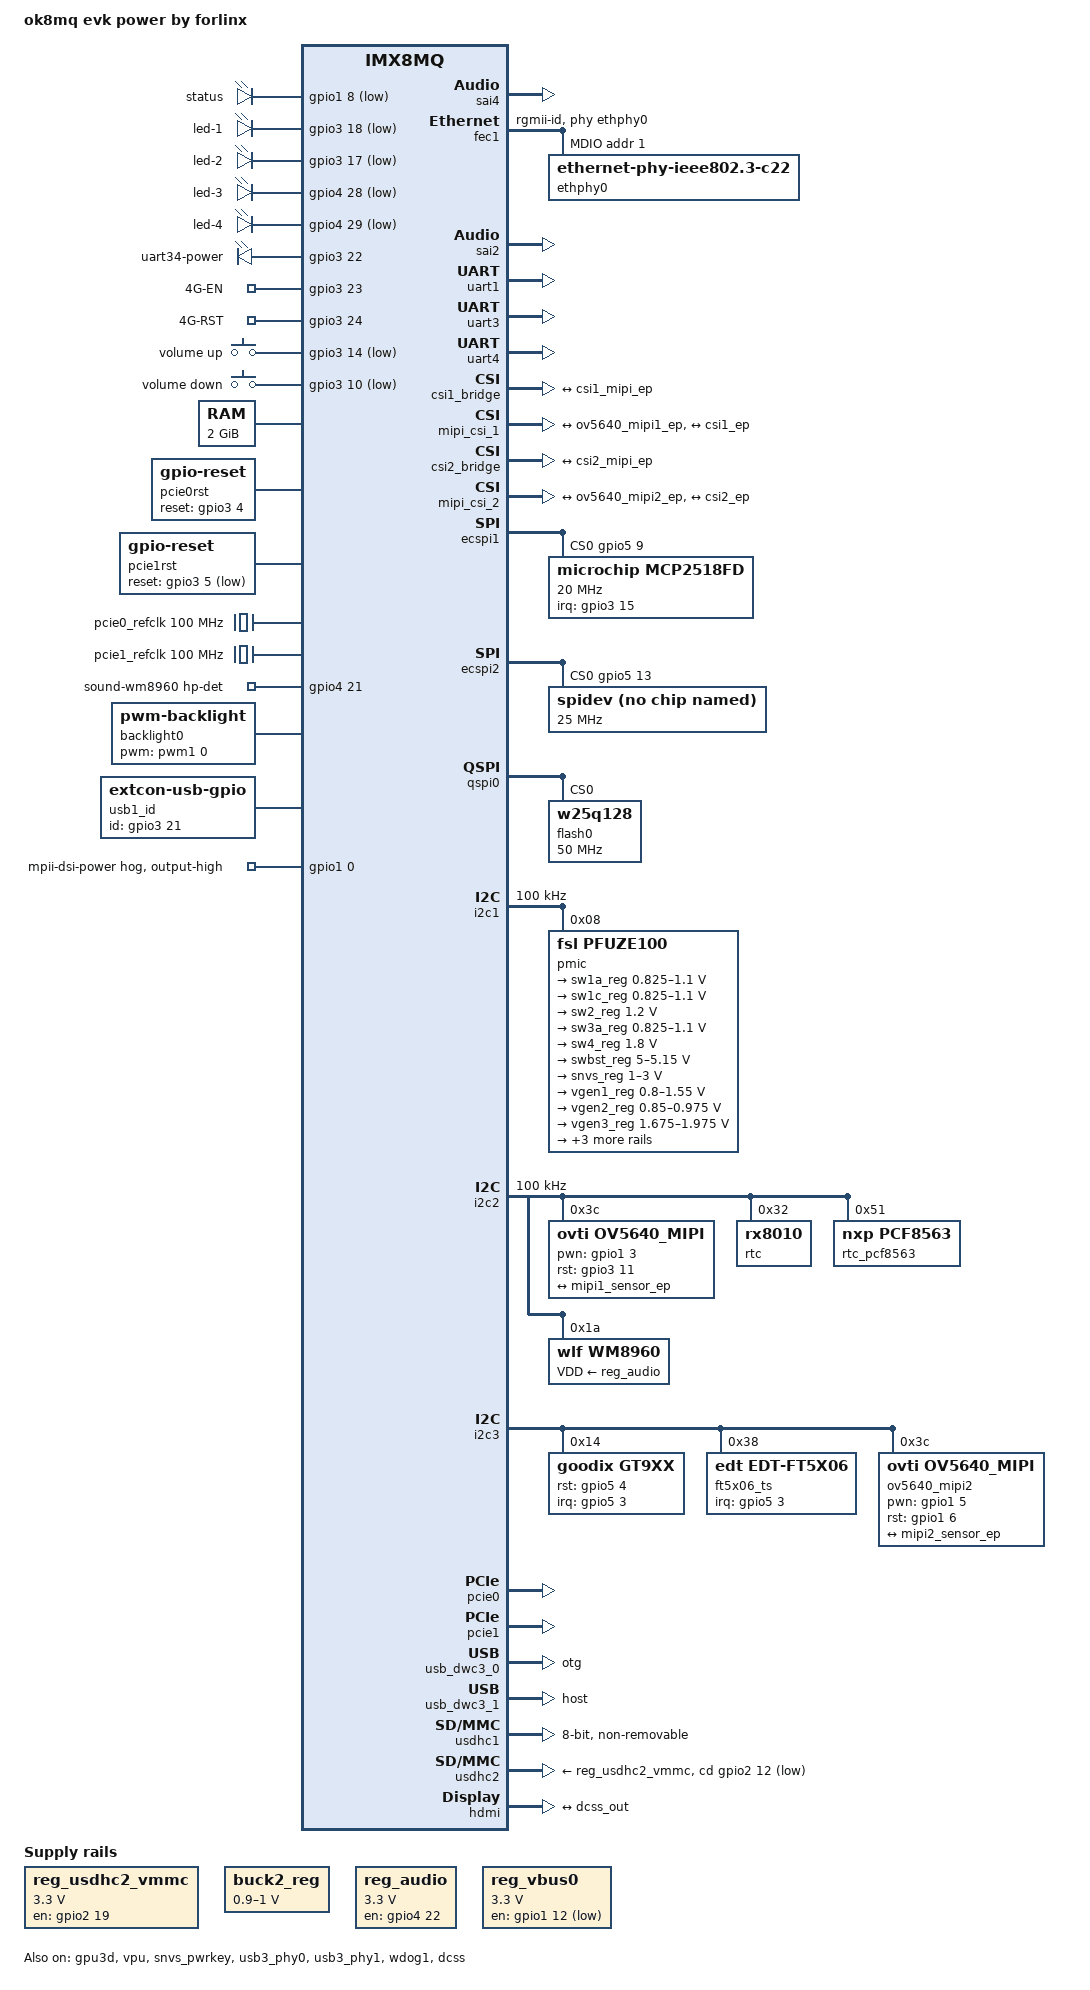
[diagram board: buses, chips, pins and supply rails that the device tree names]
// SPDX-License-Identifier: (GPL-2.0 OR MIT)
/*
 * Copyright 2017 NXP
 * Copyright (C) 2017-2018 Pengutronix, Lucas Stach <kernel@pengutronix.de>
 */

/dts-v1/;

#include <dt-bindings/usb/pd.h>
#include <dt-bindings/gpio/gpio.h>
#include <dt-bindings/leds/common.h>
#include <dt-bindings/pwm/pwm.h>
#include "imx8mq.dtsi"

/ {
	model = "ok8mq evk power by forlinx";
	compatible = "fsl,imx8mq-evk", "fsl,imx8mq";
	
	busfreq {
		status = "disabled";
	};

	clocks {
		mcp2518fd_clock: mcp2518fd_clock{
			compatible = "fixed-clock";
			#clock-cells = <0>;
			clock-frequency = <40000000>;
		};
	};

	leds {
		compatible = "gpio-leds";
		pinctrl-names = "default";
		pinctrl-0 = <&pinctrl_gpio_led>;

		status {
			gpios = <&gpio1 8 GPIO_ACTIVE_LOW>;
			linux,default-trigger = "heartbeat";
		};


		led-1 {
			gpios = <&gpio3 18 GPIO_ACTIVE_LOW>;
		};

		led-2 {
			gpios = <&gpio3 17 GPIO_ACTIVE_LOW>;
		};

		led-3 {
			gpios = <&gpio4 28 GPIO_ACTIVE_LOW>;
		};

		led-4 {
			gpios = <&gpio4 29 GPIO_ACTIVE_LOW>;
		};

		uart34-power {
			gpios = <&gpio3 22 GPIO_ACTIVE_HIGH>;
			default-state = "on";
		};

		4G-EN {
			gpios = <&gpio3 23 GPIO_ACTIVE_HIGH>;
			default-state = "on";
		};

		4G-RST {
			gpios = <&gpio3 24 GPIO_ACTIVE_HIGH>;
		};

	};

	gpio-keys {
		compatible = "gpio-keys";
		autorepeat;
		pinctrl-names = "default";
		pinctrl-0 = <&pinctrl_gpio_keys>;

		volume-up {
			label = "volume up";
			linux,code = <115>;
			gpios = <&gpio3 14 GPIO_ACTIVE_LOW>;
		};

		volume-down {
			label = "volume down";
			linux,code = <114>;
			gpios = <&gpio3 10 GPIO_ACTIVE_LOW>;
		};

	};
	
	gpio-inputs {
		compatible = "gpio-input";
		pinctrl-names = "default";
		pinctrl-0 = <&pinctrl_gpio_inputs>;
		status = "okay";
               
		di0 {
			label = "di0";
			gpios = <&gpio3 2 GPIO_ACTIVE_LOW>;
			debounce_interval = <20>;
		};
 		      
		di1 {
			label = "di1";
			gpios = <&gpio3 16 GPIO_ACTIVE_LOW>;
			debounce_interval = <20>;
		};
       
	};

	chosen {
		stdout-path = &uart1;
	};

	memory@40000000 {
		device_type = "memory";
		reg = <0x00000000 0x40000000 0 0x80000000>;
	};

	reserved-memory {
		#address-cells = <2>;
		#size-cells = <2>;
		ranges;

		rpmsg_reserved: rpmsg@0xb8000000 {
			no-map;
			reg = <0 0xb8000000 0 0x400000>;
		};
	};

	pcie0rst: pcie0-reset {
		compatible = "gpio-reset";
		reset-gpios = <&gpio3 4 GPIO_ACTIVE_HIGH>;
		reset-delay-us = <2000>;
		reset-post-delay-ms = <2>;
		#reset-cells = <0>;
	};

	pcie1rst: pcie1-reset {
		compatible = "gpio-reset";
		reset-gpios = <&gpio3 5 GPIO_ACTIVE_LOW>;
		reset-delay-us = <2000>;
		reset-post-delay-ms = <2>;
		#reset-cells = <0>;
	};

	resmem: reserved-memory {
		#address-cells = <2>;
		#size-cells = <2>;
		ranges;

		/* global autoconfigured region for contiguous allocations */
		linux,cma {
			compatible = "shared-dma-pool";
			reusable;
			size = <0 0x28000000>;
			alloc-ranges = <0 0x40000000 0 0x40000000>;
			linux,cma-default;
		};
	};

	pcie0_refclk: pcie0-refclk {
		compatible = "fixed-clock";
		#clock-cells = <0>;
		clock-frequency = <100000000>;
	};

	pcie1_refclk: pcie0-refclk {
		compatible = "fixed-clock";
		#clock-cells = <0>;
		clock-frequency = <100000000>;
	};

	reg_usdhc2_vmmc: regulator-vsd-3v3 {
		pinctrl-names = "default";
		pinctrl-0 = <&pinctrl_reg_usdhc2>;
		compatible = "regulator-fixed";
		regulator-name = "VSD_3V3";
		regulator-min-microvolt = <3300000>;
		regulator-max-microvolt = <3300000>;
		gpio = <&gpio2 19 GPIO_ACTIVE_HIGH>;
		off-on-delay-us = <20000>;
		enable-active-high;
	};

	buck2_reg: regulator-buck2 {
		pinctrl-names = "default";
		pinctrl-0 = <&pinctrl_buck2>;
		compatible = "regulator-gpio";
		regulator-name = "vdd_arm";
		regulator-min-microvolt = <900000>;
		regulator-max-microvolt = <1000000>;
		gpios = <&gpio1 13 GPIO_ACTIVE_HIGH>;
		states = <1000000 0x0
				900000 0x1>;
	};

	reg_audio: regulator-audio {
		compatible = "regulator-fixed";
		regulator-name = "AUD_3V3";
		regulator-min-microvolt = <3300000>;
		regulator-max-microvolt = <3300000>;
		gpio = <&gpio4 22 GPIO_ACTIVE_HIGH>;
		off-on-delay-us = <20000>;
		enable-active-high;
	};

	reg_vbus0: regulator-vbus0 {
		pinctrl-names = "default";
		pinctrl-0 = <&pinctrl_usb_vbus0>;
		compatible = "regulator-fixed";
		regulator-name = "VBUS_3V3";
		regulator-min-microvolt = <3300000>;
		regulator-max-microvolt = <3300000>;
		gpio = <&gpio1 12 GPIO_ACTIVE_HIGH>;
	};

	sound-hdmi {
		compatible = "fsl,imx8mq-evk-cdnhdmi",
				"fsl,imx-audio-cdnhdmi";
		model = "imx-audio-hdmi";
		audio-cpu = <&sai4>;
		protocol = <1>;
		hdmi-out;
		constraint-rate = <44100>,
				<88200>,
				<176400>,
				<32000>,
				<48000>,
				<96000>,
				<192000>;
		status = "okay";
	};
	
	sound-wm8960 {
		compatible = "fsl,imx7d-evk-wm8960", 
		"fsl,imx-audio-wm8960";
		model = "wm8960-audio";
		cpu-dai = <&sai2>;
		audio-codec = <&wm8960>;
		codec-master;
		hp-det-gpios = <&gpio4 21 GPIO_ACTIVE_HIGH>;
		audio-routing =
					"Headphone Jack", "HP_L",
					"Headphone Jack", "HP_R",
					"Ext Spk", "SPK_LP",
					"Ext Spk", "SPK_LN",
					"Ext Spk", "SPK_RP",
					"Ext Spk", "SPK_RN",
					"LINPUT1", "Mic Jack",
					"RINPUT1", "Mic Jack",
					"Mic Jack", "MICB";
		status = "okay";

	};

	backlight0: backlight@0 {
		compatible = "pwm-backlight";
		pwms = <&pwm1 0 50000 0>;
		status = "okay";

		brightness-levels = < 0 23 23 23 23 23 23 23 23 23
							23 23 23 23 23 23 23 23 23 23
							23 23 23 23 24 25 26 27 28 29
							30 31 32 33 34 35 36 37 38 39
							40 41 42 43 44 45 46 47 48 49
							50 51 52 53 54 55 56 57 58 59
							60 61 62 63 64 65 66 67 68 69
							70 71 72 73 74 75 76 77 78 79
							80 81 82 83 84 85 86 87 88 89
							90 91 92 93 94 95 96 97 98 99
							100>;
		default-brightness-level = <80>;
	};

	usb1_id: usb1-id {
		compatible = "linux,extcon-usb-gpio";
		id-gpio = <&gpio3 21 GPIO_ACTIVE_HIGH>;
		pinctrl-names = "default";
		pinctrl-0 = <&pinctrl_usb1_vbus_det_gpio>;
	};


};

&sai4 {
        assigned-clocks = <&clk IMX8MQ_CLK_SAI4>;
        assigned-clock-parents = <&clk IMX8MQ_AUDIO_PLL1_OUT>;
        assigned-clock-rates = <24576000>;
        clocks = <&clk IMX8MQ_CLK_SAI4_IPG>, <&clk IMX8MQ_CLK_DUMMY>,
                <&clk IMX8MQ_CLK_SAI4_ROOT>, <&clk IMX8MQ_CLK_DUMMY>,
                <&clk IMX8MQ_CLK_DUMMY>, <&clk IMX8MQ_AUDIO_PLL1_OUT>,
                <&clk IMX8MQ_AUDIO_PLL2_OUT>;
        clock-names = "bus", "mclk0", "mclk1", "mclk2", "mclk3", "pll8k", "pll11k";
        status = "okay";
};

&A53_0 {
	cpu-supply = <&buck2_reg>;
};

&A53_1 {
	cpu-supply = <&buck2_reg>;
};

&A53_2 {
	cpu-supply = <&buck2_reg>;
};

&A53_3 {
	cpu-supply = <&buck2_reg>;
};

&gpu3d {
	status = "okay";
};

&pgc_gpu {
	power-supply = <&sw1a_reg>;
};

&pgc_vpu {
	power-supply = <&sw1c_reg>;
};

&vpu {
	status = "okay";
};

&fec1 {
	pinctrl-names = "default";
	pinctrl-0 = <&pinctrl_fec1>;
	phy-mode = "rgmii-id";
	phy-handle = <&ethphy0>;
	fsl,magic-packet;
	status = "okay";

	mdio {
		#address-cells = <1>;
		#size-cells = <0>;

		ethphy0: ethernet-phy@1 {
			compatible = "ethernet-phy-ieee802.3-c22";
			reg = <1>;
			at803x,eee-disabled;
		};
	};
};

&sai2 {
	pinctrl-names = "default";
	pinctrl-0 = <&pinctrl_sai2>;
	assigned-clocks = <&clk IMX8MQ_CLK_SAI2>;
	assigned-clock-parents = <&clk IMX8MQ_AUDIO_PLL1_OUT>;
	assigned-clock-rates = <22579200>;
	status = "okay";
};

&uart1 {
	pinctrl-names = "default";
	pinctrl-0 = <&pinctrl_uart1>;
	assigned-clocks = <&clk IMX8MQ_CLK_UART1>;
	assigned-clock-parents = <&clk IMX8MQ_CLK_25M>;
	status = "okay";
};

&uart3 { 
	pinctrl-names = "default";
	pinctrl-0 = <&pinctrl_uart3>;
	assigned-clocks = <&clk IMX8MQ_CLK_UART3>;
	assigned-clock-parents = <&clk IMX8MQ_SYS1_PLL_80M>;
	status = "okay";
};

&uart4 { 
	pinctrl-names = "default";
	pinctrl-0 = <&pinctrl_uart4>;
	assigned-clocks = <&clk IMX8MQ_CLK_UART4>;
	assigned-clock-parents = <&clk IMX8MQ_SYS1_PLL_80M>;
	status = "okay";
};


&csi1_bridge {
	fsl,mipi-mode;
	fsl,two-8bit-sensor-mode;
	status = "okay";

	port {
		csi1_ep: endpoint {
			remote-endpoint = <&csi1_mipi_ep>;
		};
	};
};

&mipi_csi_1 {
	#address-cells = <1>;
	#size-cells = <0>;
	status = "okay";
	port {
		mipi1_sensor_ep: endpoint@0 {
			remote-endpoint = <&ov5640_mipi1_ep>;
			data-lanes = <1 2>;
			bus-type = <4>;
		};

		csi1_mipi_ep: endpoint@1 {
			remote-endpoint = <&csi1_ep>;
		};
	};
};

&csi2_bridge {
	fsl,mipi-mode;
	fsl,two-8bit-sensor-mode;
	status = "okay";

	port {
		csi2_ep: endpoint {
			remote-endpoint = <&csi2_mipi_ep>;
		};
	};
};

&mipi_csi_2 {
	#address-cells = <1>;
	#size-cells = <0>;
	status = "okay";
	port {
		mipi2_sensor_ep: endpoint@0 {
			remote-endpoint = <&ov5640_mipi2_ep>;
			data-lanes = <1 2>;
			bus-type = <4>;
		};

		csi2_mipi_ep: endpoint@1 {
			remote-endpoint = <&csi2_ep>;
		};
	};
};

&ecspi1 {
	status = "okay";
	pinctrl-names = "default";
	pinctrl-0 = <&pinctrl_spi1>;
	cs-gpios = <&gpio5 9 0>;

	mcp2518fd@0 {
		compatible = "microchip,mcp2518fd";
		reg = <0>;
		spi-max-frequency = <20000000>;
		clocks = <&mcp2518fd_clock>;
		interrupts-extended = <&gpio3 15 IRQ_TYPE_LEVEL_LOW>;
	};

};

&ecspi2 {
	status = "okay";
	pinctrl-names = "default";
	pinctrl-0 = <&pinctrl_spi2>;
	cs-gpios = <&gpio5 13 0>;
	
	spidev@0 {
		compatible = "rohm,dh2228fv";
		reg = <0>;
		spi-max-frequency = <25000000>;
	};
};

&qspi0 {
	pinctrl-names = "default";
	pinctrl-0 = <&pinctrl_qspi>;
	status = "okay";

	flash0: w25q128@0 {
		reg = <0>;
		#address-cells = <1>;
		#size-cells = <1>;
		compatible = "w25q128";
		spi-max-frequency = <50000000>;
		spi-tx-bus-width = <4>;
		spi-rx-bus-width = <4>;
		spi-nor,ddr-quad-read-dummy = <6>;
	};
};


&gpio1 {
	mpii-dsi-power {
		gpio-hog;
		gpios = <0 GPIO_ACTIVE_HIGH>;
		output-high;
	};
};


&i2c1 {
	clock-frequency = <100000>;
	pinctrl-names = "default";
	pinctrl-0 = <&pinctrl_i2c1>;
	status = "okay";

	pmic@8 {
		compatible = "fsl,pfuze100";
		fsl,pfuze-support-disable-sw;
		reg = <0x8>;

		regulators {
			sw1a_reg: sw1ab {
				regulator-min-microvolt = <825000>;
				regulator-max-microvolt = <1100000>;
			};

			sw1c_reg: sw1c {
				regulator-min-microvolt = <825000>;
				regulator-max-microvolt = <1100000>;
			};

			sw2_reg: sw2 {
				regulator-min-microvolt = <1200000>;
				regulator-max-microvolt = <1200000>;
				regulator-always-on;
			};

			sw3a_reg: sw3ab {
				regulator-min-microvolt = <825000>;
				regulator-max-microvolt = <1100000>;
				regulator-always-on;
			};

			sw4_reg: sw4 {
				regulator-min-microvolt = <1800000>;
				regulator-max-microvolt = <1800000>;
				regulator-always-on;
			};

			swbst_reg: swbst {
				regulator-min-microvolt = <5000000>;
				regulator-max-microvolt = <5150000>;
			};

			snvs_reg: vsnvs {
				regulator-min-microvolt = <1000000>;
				regulator-max-microvolt = <3000000>;
				regulator-always-on;
			};

			vref_reg: vrefddr {
				regulator-always-on;
			};

			vgen1_reg: vgen1 {
				regulator-min-microvolt = <800000>;
				regulator-max-microvolt = <1550000>;
			};

			vgen2_reg: vgen2 {
				regulator-min-microvolt = <850000>;
				regulator-max-microvolt = <975000>;
				regulator-always-on;
			};

			vgen3_reg: vgen3 {
				regulator-min-microvolt = <1675000>;
				regulator-max-microvolt = <1975000>;
				regulator-always-on;
			};

			vgen4_reg: vgen4 {
				regulator-min-microvolt = <1625000>;
				regulator-max-microvolt = <1875000>;
				regulator-always-on;
			};

			vgen5_reg: vgen5 {
				regulator-min-microvolt = <3075000>;
				regulator-max-microvolt = <3625000>;
				regulator-always-on;
			};

			vgen6_reg: vgen6 {
				regulator-min-microvolt = <1800000>;
				regulator-max-microvolt = <3300000>;
			};
		};
	};
};

&i2c2 {
	clock-frequency = <100000>;
	pinctrl-names = "default";
	pinctrl-0 = <&pinctrl_i2c2>;
	status = "okay";

	ov5640_mipi: ov5640_mipi@3c {
		compatible = "ovti,ov5640_mipi";
		reg = <0x3c>;
		status = "okay";
		pinctrl-names = "default";
		pinctrl-0 = <&pinctrl_csi1_pwn>, <&pinctrl_csi2_rst>;
		clocks = <&clk IMX8MQ_CLK_CLKO2>;
		clock-names = "csi_mclk";
		assigned-clocks = <&clk IMX8MQ_CLK_CLKO2>;
		assigned-clock-parents = <&clk IMX8MQ_SYS2_PLL_200M>;
		assigned-clock-rates = <20000000>;
		csi_id = <0>;
		pwn-gpios = <&gpio1 3 GPIO_ACTIVE_HIGH>;
		rst-gpios = <&gpio3 11 GPIO_ACTIVE_HIGH>;
		mclk = <24000000>;
		mclk_source = <0>;
		port {
			ov5640_mipi1_ep: endpoint {
				remote-endpoint = <&mipi1_sensor_ep>;
			};
		};
	};

	rtc@32 {
		compatible = "rx8010";
		reg = <0x32>;
		status = "okay";
	};
	
	rtc_pcf8563@51 {
		compatible = "nxp,pcf8563";
		reg = <0x51>;
		status = "okay";
	};

	wm8960: wm8960@1a {
		compatible = "wlf,wm8960";
		reg = <0x1a>;
		wlf,shared-lrclk;
		clocks = <&clk IMX8MQ_CLK_SAI2_ROOT>;
		clock-names = "mclk";
		VDD-supply = <&reg_audio>;
		status = "okay";
	};
};

&i2c3 {
	status = "okay";
	pinctrl-names = "default";
	pinctrl-0 = <&pinctrl_i2c3>;
	
	gt9xx@14 {
		compatible = "goodix,gt9xx";
		reg = <0x14>;
		interrupt-parent = <&gpio5>;
		interrupts = <3 2>;
		goodix,rst-gpio = <&gpio5 4 0>;
		goodix,irq-gpio = <&gpio5 3 0>;
		status = "okay";
	};

	ft5x06_ts@38 {
                compatible = "edt,edt-ft5x06";
                reg = <0x38>;
                interrupt-parent = <&gpio5>;
                interrupts = <3 2>;
                status = "okay";
        };

	ov5640_mipi2: ov5640_mipi2@3c {
		compatible = "ovti,ov5640_mipi";
		reg = <0x3c>;
		status = "okay";
		pinctrl-names = "default";
		pinctrl-0 = <&pinctrl_csi2_pwn>, <&pinctrl_csi_rst>;
		clocks = <&clk IMX8MQ_CLK_CLKO2>;
		clock-names = "csi_mclk";
		assigned-clocks = <&clk IMX8MQ_CLK_CLKO2>;
		assigned-clock-parents = <&clk IMX8MQ_SYS2_PLL_200M>;
		assigned-clock-rates = <20000000>;
		csi_id = <1>;
		pwn-gpios = <&gpio1 5 GPIO_ACTIVE_HIGH>;
		rst-gpios = <&gpio1 6 GPIO_ACTIVE_HIGH>;
		mclk = <24000000>;
		mclk_source = <0>;
		port {
				ov5640_mipi2_ep: endpoint {
						remote-endpoint = <&mipi2_sensor_ep>;
				};
		};
	};

	lt8912_bridge_CUSTOM: lt8912_custom@48 {
		compatible = "lontium,lt8912-CUSTOM";
		reg = <0x48>;
		status = "disabled";
                
		display-timings {
			timing {
				clock-frequency = <72500000>;
				hactive = <1280>;
				vactive = <800>;
				hfront-porch = <21>;
				hsync-len = <32>;
				hback-porch = <119>;
				vfront-porch = <4>;
				vsync-len = <20>;
				vback-porch = <8>;
				hsync-active = <0>;
				vsync-active = <0>;
				de-active = <0>;
				pixelclk-active = <0>;
			};
		};
	};

};

&pcie0 {
	pinctrl-names = "default";
	clocks = <&clk IMX8MQ_CLK_PCIE1_ROOT>,
		 <&clk IMX8MQ_CLK_PCIE1_AUX>,
		 <&clk IMX8MQ_CLK_PCIE1_PHY>,
		 <&pcie0_refclk>;
	clock-names = "pcie", "pcie_aux", "pcie_phy", "pcie_bus";
	status = "okay";
};

&pcie1 {
	pinctrl-names = "default";
	clocks = <&clk IMX8MQ_CLK_PCIE2_ROOT>,
		<&clk IMX8MQ_CLK_PCIE2_AUX>,
		<&clk IMX8MQ_CLK_PCIE2_PHY>,
		<&pcie1_refclk>;
	clock-names = "pcie", "pcie_aux", "pcie_phy", "pcie_bus";
	hard-wired = <1>;
	status = "okay";
};

&snvs_pwrkey {
	status = "okay";
};

&usb3_phy0 {
	Vbus-supply = <&reg_vbus0>;
	status = "okay";
};

&usb_dwc3_0 {
	dr_mode = "otg";
	hnp-disable;
	srp-disable;
	adp-disable;
	extcon = <&usb1_id>;
	maximum-speed = "high-speed";
	status = "okay";
};

&usb3_phy1 {
	status = "okay";
};

&usb_dwc3_1 {
	dr_mode = "host";
	status = "okay";
};

&usdhc1 {
	pinctrl-names = "default", "state_100mhz", "state_200mhz";
	pinctrl-0 = <&pinctrl_usdhc1>;
	pinctrl-1 = <&pinctrl_usdhc1_100mhz>;
	pinctrl-2 = <&pinctrl_usdhc1_200mhz>;
	vqmmc-supply = <&sw4_reg>;
	bus-width = <8>;
	non-removable;
	no-sd;
	no-sdio;
	status = "okay";
};

&usdhc2 {
	pinctrl-names = "default", "state_100mhz", "state_200mhz";
	pinctrl-0 = <&pinctrl_usdhc2>;
	pinctrl-1 = <&pinctrl_usdhc2_100mhz>;
	pinctrl-2 = <&pinctrl_usdhc2_200mhz>;
	cd-gpios = <&gpio2 12 GPIO_ACTIVE_LOW>;
	vmmc-supply = <&reg_usdhc2_vmmc>;
	status = "okay";
};

&wdog1 {
	status = "okay";
	pinctrl-names = "default";
	pinctrl-0 = <&pinctrl_wdog>;
	fsl,ext-reset-output;
	
};

&iomuxc {
	pinctrl-names = "default";
	pinctrl-0 = <&pinctrl_hog>;

	pinctrl_hog: hoggrp {
		fsl,pins = <
			MX8MQ_IOMUXC_SAI2_RXC_GPIO4_IO22	0x19
			MX8MQ_IOMUXC_SAI2_RXFS_GPIO4_IO21	0x19
			MX8MQ_IOMUXC_SPDIF_TX_GPIO5_IO3         0x19
			MX8MQ_IOMUXC_SPDIF_RX_GPIO5_IO4         0x19
			MX8MQ_IOMUXC_GPIO1_IO00_GPIO1_IO0       0x19
			
			MX8MQ_IOMUXC_SAI1_RXFS_GPIO4_IO0        0x19
			MX8MQ_IOMUXC_SAI1_RXC_GPIO4_IO1         0x19
			MX8MQ_IOMUXC_SAI1_RXD0_GPIO4_IO2        0x19
			MX8MQ_IOMUXC_SAI1_RXD1_GPIO4_IO3        0x19
			MX8MQ_IOMUXC_SAI1_RXD2_GPIO4_IO4        0x19
			MX8MQ_IOMUXC_SAI1_RXD3_GPIO4_IO5        0x19
			MX8MQ_IOMUXC_SAI1_RXD4_GPIO4_IO6        0x19
			MX8MQ_IOMUXC_SAI1_RXD5_GPIO4_IO7        0x19
			MX8MQ_IOMUXC_SAI1_RXD6_GPIO4_IO8        0x19
			MX8MQ_IOMUXC_SAI1_RXD7_GPIO4_IO9        0x19
			MX8MQ_IOMUXC_SAI1_TXFS_GPIO4_IO10       0x19
			MX8MQ_IOMUXC_SAI1_TXC_GPIO4_IO11        0x19
			MX8MQ_IOMUXC_SAI1_TXD0_GPIO4_IO12       0x19
			MX8MQ_IOMUXC_SAI1_TXD1_GPIO4_IO13       0x19
			MX8MQ_IOMUXC_SAI1_TXD2_GPIO4_IO14       0x19
			MX8MQ_IOMUXC_SAI1_TXD3_GPIO4_IO15       0x19
			MX8MQ_IOMUXC_SAI1_TXD4_GPIO4_IO16       0x19
			MX8MQ_IOMUXC_SAI1_TXD5_GPIO4_IO17       0x19
			MX8MQ_IOMUXC_SAI1_TXD6_GPIO4_IO18       0x19
			MX8MQ_IOMUXC_SAI1_TXD7_GPIO4_IO19       0x19
			MX8MQ_IOMUXC_SAI1_MCLK_GPIO4_IO20       0x19

			MX8MQ_IOMUXC_SPDIF_EXT_CLK_GPIO5_IO5    0x19
			MX8MQ_IOMUXC_SAI3_MCLK_GPIO5_IO2        0x19
			MX8MQ_IOMUXC_SAI3_TXFS_GPIO4_IO31       0x19
			MX8MQ_IOMUXC_SAI3_TXC_GPIO5_IO0         0x19
			MX8MQ_IOMUXC_SAI3_TXD_GPIO5_IO1         0x19
			MX8MQ_IOMUXC_SAI3_RXD_GPIO4_IO30        0x19
			MX8MQ_IOMUXC_SAI5_RXFS_GPIO3_IO19       0x19
			MX8MQ_IOMUXC_SAI5_RXC_GPIO3_IO20        0x19

			MX8MQ_IOMUXC_NAND_DATA06_GPIO3_IO12     0x19
			MX8MQ_IOMUXC_NAND_DATA07_GPIO3_IO13     0x19
			MX8MQ_IOMUXC_SD2_WP_GPIO2_IO20          0x19
		>;
	};

	pinctrl_gpio_led: gpioledgrp {
		fsl,pins = <
			MX8MQ_IOMUXC_GPIO1_IO08_GPIO1_IO8       0x19
			MX8MQ_IOMUXC_NAND_WP_B_GPIO3_IO18	0x19
			MX8MQ_IOMUXC_NAND_WE_B_GPIO3_IO17	0x19
			MX8MQ_IOMUXC_SAI3_RXFS_GPIO4_IO28	0x19
			MX8MQ_IOMUXC_SAI3_RXC_GPIO4_IO29	0x19
			MX8MQ_IOMUXC_SAI5_RXD1_GPIO3_IO22	0x19
			MX8MQ_IOMUXC_SAI5_RXD2_GPIO3_IO23	0x19
			MX8MQ_IOMUXC_SAI5_RXD3_GPIO3_IO24	0x19
		>;
	};

	pinctrl_spi1: spi1 {
	 	fsl,pins = <
	 		MX8MQ_IOMUXC_ECSPI1_SCLK_ECSPI1_SCLK    0x82
	 		MX8MQ_IOMUXC_ECSPI1_MOSI_ECSPI1_MOSI    0x82
	 		MX8MQ_IOMUXC_ECSPI1_MISO_ECSPI1_MISO    0x82
	 		MX8MQ_IOMUXC_ECSPI1_SS0_GPIO5_IO9       0x19
	 		MX8MQ_IOMUXC_NAND_RE_B_GPIO3_IO15       0x19
	 	>;
	};

	pinctrl_spi2: spi2 {
	 	fsl,pins = <
			MX8MQ_IOMUXC_ECSPI2_SCLK_ECSPI2_SCLK    0x82
			MX8MQ_IOMUXC_ECSPI2_MOSI_ECSPI2_MOSI    0x82
			MX8MQ_IOMUXC_ECSPI2_MISO_ECSPI2_MISO    0x82
			MX8MQ_IOMUXC_ECSPI2_SS0_GPIO5_IO13      0x19
			MX8MQ_IOMUXC_SAI5_MCLK_GPIO3_IO25       0x19
	 	>;
	};

	pinctrl_uart1: uart1grp {
		fsl,pins = <
			MX8MQ_IOMUXC_UART1_RXD_UART1_DCE_RX		0x49
			MX8MQ_IOMUXC_UART1_TXD_UART1_DCE_TX		0x49
		>;
	};

	pinctrl_uart3: uart3grp {
		fsl,pins = <
			MX8MQ_IOMUXC_UART3_TXD_UART3_DCE_TX		0x49
			MX8MQ_IOMUXC_UART3_RXD_UART3_DCE_RX		0x49
		>;
	};

	pinctrl_uart4: uart4grp {
		fsl,pins = <
			MX8MQ_IOMUXC_UART4_TXD_UART4_DCE_TX 	0x49
			MX8MQ_IOMUXC_UART4_RXD_UART4_DCE_RX		0x49
		>;
	};
	pinctrl_buck2: vddarmgrp {
		fsl,pins = <
			MX8MQ_IOMUXC_GPIO1_IO13_GPIO1_IO13		0x19
		>;
	};

	pinctrl_csi1_pwn: csi1_pwn_grp {
		fsl,pins = <
			MX8MQ_IOMUXC_GPIO1_IO03_GPIO1_IO3		0x19
		>;
	};
	pinctrl_csi2_pwn: csi2_pwn_grp {
		fsl,pins = <
			MX8MQ_IOMUXC_GPIO1_IO05_GPIO1_IO5		0x19
		>;
	};

	pinctrl_csi_rst: csi_rst_grp {
		fsl,pins = <
			MX8MQ_IOMUXC_GPIO1_IO06_GPIO1_IO6		0x19
			MX8MQ_IOMUXC_GPIO1_IO15_CCMSRCGPCMIX_CLKO2	0x59
		>;
	};

	pinctrl_fec1: fec1grp {
		fsl,pins = <
			MX8MQ_IOMUXC_ENET_MDC_ENET1_MDC			0x3
			MX8MQ_IOMUXC_ENET_MDIO_ENET1_MDIO		0x23
			MX8MQ_IOMUXC_ENET_TD3_ENET1_RGMII_TD3		0x1f
			MX8MQ_IOMUXC_ENET_TD2_ENET1_RGMII_TD2		0x1f
			MX8MQ_IOMUXC_ENET_TD1_ENET1_RGMII_TD1		0x1f
			MX8MQ_IOMUXC_ENET_TD0_ENET1_RGMII_TD0		0x1f
			MX8MQ_IOMUXC_ENET_RD3_ENET1_RGMII_RD3		0x91
			MX8MQ_IOMUXC_ENET_RD2_ENET1_RGMII_RD2		0x91
			MX8MQ_IOMUXC_ENET_RD1_ENET1_RGMII_RD1		0x91
			MX8MQ_IOMUXC_ENET_RD0_ENET1_RGMII_RD0		0x91
			MX8MQ_IOMUXC_ENET_TXC_ENET1_RGMII_TXC		0x1f
			MX8MQ_IOMUXC_ENET_RXC_ENET1_RGMII_RXC		0x91
			MX8MQ_IOMUXC_ENET_RX_CTL_ENET1_RGMII_RX_CTL	0x91
			MX8MQ_IOMUXC_ENET_TX_CTL_ENET1_RGMII_TX_CTL	0x1f
			MX8MQ_IOMUXC_GPIO1_IO09_GPIO1_IO9		0x19
		>;
	};

	pinctrl_i2c1: i2c1grp {
		fsl,pins = <
			MX8MQ_IOMUXC_I2C1_SCL_I2C1_SCL			0x4000007f
			MX8MQ_IOMUXC_I2C1_SDA_I2C1_SDA			0x4000007f
		>;
	};

	pinctrl_i2c2: i2c2grp {
		fsl,pins = <
			MX8MQ_IOMUXC_I2C2_SCL_I2C2_SCL			0x40000067
			MX8MQ_IOMUXC_I2C2_SDA_I2C2_SDA			0x40000067
		>;
	};

	pinctrl_i2c3: i2c3grp {
		fsl,pins = <
			MX8MQ_IOMUXC_I2C3_SCL_I2C3_SCL			0x40000067
			MX8MQ_IOMUXC_I2C3_SDA_I2C3_SDA			0x40000067
		>;
	};

	pinctrl_qspi: qspigrp {
		fsl,pins = <
			MX8MQ_IOMUXC_NAND_ALE_QSPI_A_SCLK		0x82
			MX8MQ_IOMUXC_NAND_CE0_B_QSPI_A_SS0_B	0x82
			MX8MQ_IOMUXC_NAND_DATA00_QSPI_A_DATA0	0x82
			MX8MQ_IOMUXC_NAND_DATA01_QSPI_A_DATA1	0x82
			MX8MQ_IOMUXC_NAND_DATA02_QSPI_A_DATA2	0x82
			MX8MQ_IOMUXC_NAND_DATA03_QSPI_A_DATA3	0x82

		>;
	};

	pinctrl_reg_usdhc2: regusdhc2grpgpio {
		fsl,pins = <
			MX8MQ_IOMUXC_SD2_RESET_B_GPIO2_IO19		0x41
		>;
	};

	pinctrl_sai2: sai2grp {
		fsl,pins = <
			MX8MQ_IOMUXC_SAI2_TXFS_SAI2_TX_SYNC     0xd6
			MX8MQ_IOMUXC_SAI2_TXC_SAI2_TX_BCLK      0xd6
			MX8MQ_IOMUXC_SAI2_MCLK_SAI2_MCLK        0xd6
			MX8MQ_IOMUXC_SAI2_TXD0_SAI2_TX_DATA0    0xd6
			MX8MQ_IOMUXC_SAI2_RXD0_SAI2_RX_DATA0	0xd6
		>;
	};

	pinctrl_sai1_pcm: sai1grp_pcm {
		fsl,pins = <
			MX8MQ_IOMUXC_SAI1_MCLK_SAI1_MCLK		0xd6
			MX8MQ_IOMUXC_SAI1_TXFS_SAI1_TX_SYNC		0xd6
			MX8MQ_IOMUXC_SAI1_RXD7_SAI1_TX_SYNC		0xd6
			MX8MQ_IOMUXC_SAI1_TXC_SAI1_TX_BCLK		0xd6
			MX8MQ_IOMUXC_SAI1_TXD0_SAI1_TX_DATA0	0xd6
			MX8MQ_IOMUXC_SAI1_TXD1_SAI1_TX_DATA1	0xd6
			MX8MQ_IOMUXC_SAI1_TXD2_SAI1_TX_DATA2	0xd6
			MX8MQ_IOMUXC_SAI1_TXD3_SAI1_TX_DATA3	0xd6
			MX8MQ_IOMUXC_SAI1_TXD4_SAI1_TX_DATA4	0xd6
			MX8MQ_IOMUXC_SAI1_TXD5_SAI1_TX_DATA5	0xd6
			MX8MQ_IOMUXC_SAI1_TXD6_SAI1_TX_DATA6	0xd6
			MX8MQ_IOMUXC_SAI1_TXD7_SAI1_TX_DATA7	0xd6
		>;
	};

	pinctrl_sai1_pcm_b2m: sai1grp_pcm_b2m {
		fsl,pins = <
			MX8MQ_IOMUXC_SAI1_MCLK_SAI1_TX_BCLK		0xd6
			MX8MQ_IOMUXC_SAI1_TXFS_SAI1_TX_SYNC		0xd6
			MX8MQ_IOMUXC_SAI1_RXD7_SAI1_TX_SYNC		0xd6
			MX8MQ_IOMUXC_SAI1_TXC_SAI1_TX_BCLK		0xd6
			MX8MQ_IOMUXC_SAI1_TXD0_SAI1_TX_DATA0	0xd6
			MX8MQ_IOMUXC_SAI1_TXD1_SAI1_TX_DATA1	0xd6
			MX8MQ_IOMUXC_SAI1_TXD2_SAI1_TX_DATA2	0xd6
			MX8MQ_IOMUXC_SAI1_TXD3_SAI1_TX_DATA3	0xd6
			MX8MQ_IOMUXC_SAI1_TXD4_SAI1_TX_DATA4	0xd6
			MX8MQ_IOMUXC_SAI1_TXD5_SAI1_TX_DATA5	0xd6
			MX8MQ_IOMUXC_SAI1_TXD6_SAI1_TX_DATA6	0xd6
			MX8MQ_IOMUXC_SAI1_TXD7_SAI1_TX_DATA7	0xd6
		>;
	};

	pinctrl_sai1_dsd: sai1grp_dsd {
		fsl,pins = <
			MX8MQ_IOMUXC_SAI1_MCLK_SAI1_MCLK		0xd6
			MX8MQ_IOMUXC_SAI1_TXFS_SAI1_TX_SYNC		0xd6
			MX8MQ_IOMUXC_SAI1_RXD7_SAI1_TX_DATA4	0xd6
			MX8MQ_IOMUXC_SAI1_TXC_SAI1_TX_BCLK		0xd6
			MX8MQ_IOMUXC_SAI1_TXD0_SAI1_TX_DATA0	0xd6
			MX8MQ_IOMUXC_SAI1_TXD1_SAI1_TX_DATA1	0xd6
			MX8MQ_IOMUXC_SAI1_TXD2_SAI1_TX_DATA2	0xd6
			MX8MQ_IOMUXC_SAI1_TXD3_SAI1_TX_DATA3	0xd6
			MX8MQ_IOMUXC_SAI1_TXD4_SAI1_TX_DATA4	0xd6
			MX8MQ_IOMUXC_SAI1_TXD5_SAI1_TX_DATA5	0xd6
			MX8MQ_IOMUXC_SAI1_TXD6_SAI1_TX_DATA6	0xd6
			MX8MQ_IOMUXC_SAI1_TXD7_SAI1_TX_DATA7	0xd6
		>;
	};


	pinctrl_usdhc1: usdhc1grp {
		fsl,pins = <
			MX8MQ_IOMUXC_SD1_CLK_USDHC1_CLK			0x83
			MX8MQ_IOMUXC_SD1_CMD_USDHC1_CMD			0xc3
			MX8MQ_IOMUXC_SD1_DATA0_USDHC1_DATA0		0xc3
			MX8MQ_IOMUXC_SD1_DATA1_USDHC1_DATA1		0xc3
			MX8MQ_IOMUXC_SD1_DATA2_USDHC1_DATA2		0xc3
			MX8MQ_IOMUXC_SD1_DATA3_USDHC1_DATA3		0xc3
			MX8MQ_IOMUXC_SD1_DATA4_USDHC1_DATA4		0xc3
			MX8MQ_IOMUXC_SD1_DATA5_USDHC1_DATA5		0xc3
			MX8MQ_IOMUXC_SD1_DATA6_USDHC1_DATA6		0xc3
			MX8MQ_IOMUXC_SD1_DATA7_USDHC1_DATA7		0xc3
			MX8MQ_IOMUXC_SD1_STROBE_USDHC1_STROBE	0x83
			MX8MQ_IOMUXC_SD1_RESET_B_USDHC1_RESET_B	0xc1
		>;
	};

	pinctrl_usdhc1_100mhz: usdhc1-100grp {
		fsl,pins = <
			MX8MQ_IOMUXC_SD1_CLK_USDHC1_CLK			0x8d
			MX8MQ_IOMUXC_SD1_CMD_USDHC1_CMD			0xcd
			MX8MQ_IOMUXC_SD1_DATA0_USDHC1_DATA0		0xcd
			MX8MQ_IOMUXC_SD1_DATA1_USDHC1_DATA1		0xcd
			MX8MQ_IOMUXC_SD1_DATA2_USDHC1_DATA2		0xcd
			MX8MQ_IOMUXC_SD1_DATA3_USDHC1_DATA3		0xcd
			MX8MQ_IOMUXC_SD1_DATA4_USDHC1_DATA4		0xcd
			MX8MQ_IOMUXC_SD1_DATA5_USDHC1_DATA5		0xcd
			MX8MQ_IOMUXC_SD1_DATA6_USDHC1_DATA6		0xcd
			MX8MQ_IOMUXC_SD1_DATA7_USDHC1_DATA7		0xcd
			MX8MQ_IOMUXC_SD1_STROBE_USDHC1_STROBE	0x8d
			MX8MQ_IOMUXC_SD1_RESET_B_USDHC1_RESET_B	0xc1
		>;
	};

	pinctrl_usdhc1_200mhz: usdhc1-200grp {
		fsl,pins = <
			MX8MQ_IOMUXC_SD1_CLK_USDHC1_CLK			0x9f
			MX8MQ_IOMUXC_SD1_CMD_USDHC1_CMD			0xdf
			MX8MQ_IOMUXC_SD1_DATA0_USDHC1_DATA0		0xdf
			MX8MQ_IOMUXC_SD1_DATA1_USDHC1_DATA1		0xdf
			MX8MQ_IOMUXC_SD1_DATA2_USDHC1_DATA2		0xdf
			MX8MQ_IOMUXC_SD1_DATA3_USDHC1_DATA3		0xdf
			MX8MQ_IOMUXC_SD1_DATA4_USDHC1_DATA4		0xdf
			MX8MQ_IOMUXC_SD1_DATA5_USDHC1_DATA5		0xdf
			MX8MQ_IOMUXC_SD1_DATA6_USDHC1_DATA6		0xdf
			MX8MQ_IOMUXC_SD1_DATA7_USDHC1_DATA7		0xdf
			MX8MQ_IOMUXC_SD1_STROBE_USDHC1_STROBE		0x9f
			MX8MQ_IOMUXC_SD1_RESET_B_USDHC1_RESET_B		0xc1
		>;
	};

	pinctrl_usdhc2: usdhc2grp {
		fsl,pins = <
			MX8MQ_IOMUXC_SD2_CLK_USDHC2_CLK			0x83
			MX8MQ_IOMUXC_SD2_CMD_USDHC2_CMD			0xc3
			MX8MQ_IOMUXC_SD2_DATA0_USDHC2_DATA0		0xc3
			MX8MQ_IOMUXC_SD2_DATA1_USDHC2_DATA1		0xc3
			MX8MQ_IOMUXC_SD2_DATA2_USDHC2_DATA2		0xc3
			MX8MQ_IOMUXC_SD2_DATA3_USDHC2_DATA3		0xc3
			MX8MQ_IOMUXC_GPIO1_IO04_USDHC2_VSELECT		0xc1
		>;
	};

	pinctrl_usdhc2_100mhz: usdhc2-100grp {
		fsl,pins = <
			MX8MQ_IOMUXC_SD2_CLK_USDHC2_CLK			0x85
			MX8MQ_IOMUXC_SD2_CMD_USDHC2_CMD			0xc5
			MX8MQ_IOMUXC_SD2_DATA0_USDHC2_DATA0		0xc5
			MX8MQ_IOMUXC_SD2_DATA1_USDHC2_DATA1		0xc5
			MX8MQ_IOMUXC_SD2_DATA2_USDHC2_DATA2		0xc5
			MX8MQ_IOMUXC_SD2_DATA3_USDHC2_DATA3		0xc5
			MX8MQ_IOMUXC_GPIO1_IO04_USDHC2_VSELECT		0xc1
		>;
	};

	pinctrl_usdhc2_200mhz: usdhc2-200grp {
		fsl,pins = <
			MX8MQ_IOMUXC_SD2_CLK_USDHC2_CLK			0x87
			MX8MQ_IOMUXC_SD2_CMD_USDHC2_CMD			0xc7
			MX8MQ_IOMUXC_SD2_DATA0_USDHC2_DATA0		0xc7
			MX8MQ_IOMUXC_SD2_DATA1_USDHC2_DATA1		0xc7
			MX8MQ_IOMUXC_SD2_DATA2_USDHC2_DATA2		0xc7
			MX8MQ_IOMUXC_SD2_DATA3_USDHC2_DATA3		0xc7
			MX8MQ_IOMUXC_GPIO1_IO04_USDHC2_VSELECT	0xc1
		>;
	};

	pinctrl_wdog: wdog1grp {
		fsl,pins = <
			MX8MQ_IOMUXC_GPIO1_IO02_WDOG1_WDOG_B	0xc6
		>;
	};

	pinctrl_pwm1: pwm01 {
		fsl,pins = <
			MX8MQ_IOMUXC_GPIO1_IO01_PWM1_OUT	 0x19
		>;
	};

	pinctrl_gpio_keys: gpio_keys {
		fsl,pins = <
			MX8MQ_IOMUXC_NAND_DQS_GPIO3_IO14		0x19
			MX8MQ_IOMUXC_NAND_DATA04_GPIO3_IO10		0x19
		>;
	};

	pinctrl_gpio_inputs: gpio_inputs {
		fsl,pins = <
			MX8MQ_IOMUXC_NAND_CE1_B_GPIO3_IO2		0x19
			MX8MQ_IOMUXC_NAND_READY_B_GPIO3_IO16            0x19
		>;
	};
	
	pinctrl_csi2_rst: csi2_rst_grp {
		fsl,pins = <
			MX8MQ_IOMUXC_NAND_DATA05_GPIO3_IO11		0x19
		>;
	};

	pinctrl_usb_vbus0: usb_vus0 {
		fsl,pins = <
			MX8MQ_IOMUXC_GPIO1_IO12_GPIO1_IO12		0x19
		>;
	};

	pinctrl_usb1_vbus_det_gpio: usb1_vbus_det_gpio {
		fsl,pins = <
			MX8MQ_IOMUXC_SAI5_RXD0_GPIO3_IO21		0x41
		>;
	};


};

&dcss {
	status = "okay";

	port@0 {
		dcss_out: endpoint {
			  remote-endpoint = <&hdmi_in>;
		};
	};
};

&dphy {
	status = "disabled";
};

&hdmi {
	status = "okay";
	compatible = "cdn,imx8mq-hdmi";
	lane-mapping = <0xe4>;
	
	port@1 {
		hdmi_in: endpoint {
			remote-endpoint = <&dcss_out>;
		};
	};
};

&pwm1 {
	status = "disabled";
	pinctrl-names = "default";
	pinctrl-0 = <&pinctrl_pwm1>;
};

&snvs_rtc {
	status = "disabled";
};

